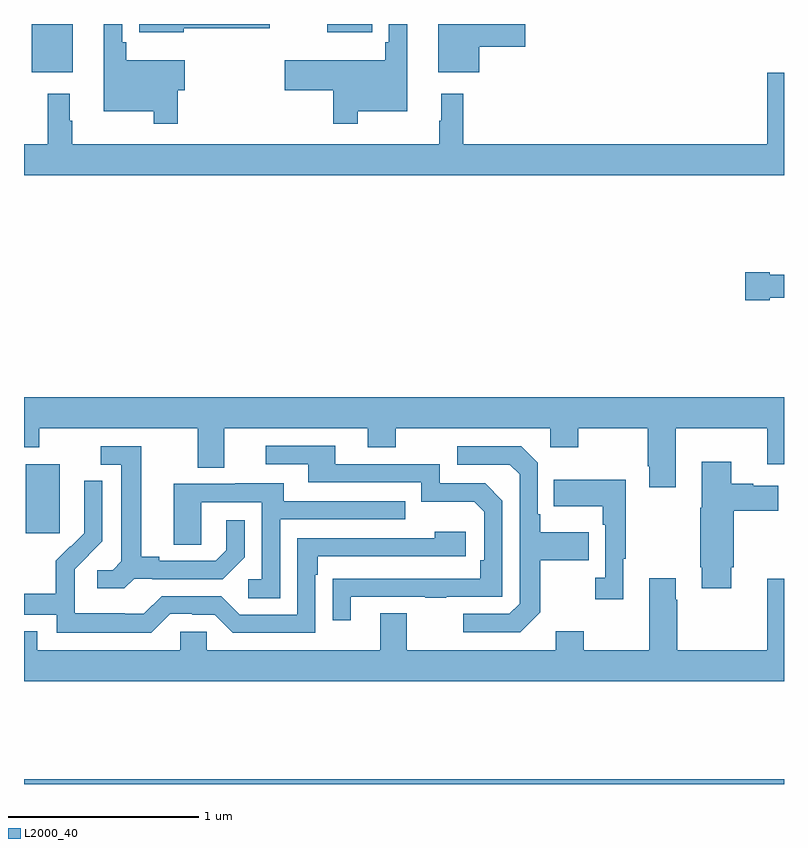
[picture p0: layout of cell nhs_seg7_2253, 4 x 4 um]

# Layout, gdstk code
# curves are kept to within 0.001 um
import gdstk
lib = gdstk.Library(unit=1e-6, precision=1e-09)
def R(c, l, rs):  # rectangles x0, y0, x1, y1
    for r in rs: c.add(gdstk.rectangle(r[:2], r[2:], *l))
def P(c, l, *ps):  # polygons
    for p in ps: c.add(gdstk.Polygon(p, *l))
L2000_40 = (2000, 40)

nhs_seg7_2253 = lib.new_cell('nhs_seg7_2253')
R(nhs_seg7_2253, L2000_40, [(257,1076,261,1076.024), (257.009,1077.321,257.188,1077.682), (257.042,1079.747,257.257,1080), (258.596,1079.957,258.832,1080)])
P(nhs_seg7_2253, L2000_40, [(258.757,1079.54),(259.018,1079.54),(259.018,1080),(258.921,1080),(258.921,1079.905),(258.901,1079.905),(258.901,1079.809),(258.372,1079.809),(258.372,1079.651),(258.628,1079.651),(258.628,1079.475),(258.757,1079.475)],
  [(257.81,1079.651),(257.845,1079.651),(257.845,1079.809),(257.537,1079.809),(257.537,1079.905),(257.517,1079.905),(257.517,1080),(257.42,1080),(257.42,1079.54),(257.682,1079.54),(257.682,1079.475),(257.81,1079.475)],
  [(257.842,1079.978),(258.294,1079.978),(258.294,1080),(257.606,1080),(257.606,1079.957),(257.842,1079.957)],
  [(259.396,1079.879),(259.639,1079.879),(259.639,1080),(259.181,1080),(259.181,1079.747),(259.396,1079.747)],
  [(261,1079.743),(260.912,1079.743),(260.912,1079.368),(259.313,1079.368),(259.313,1079.632),(259.196,1079.632),(259.196,1079.492),(259.185,1079.492),(259.185,1079.368),(257.254,1079.368),(257.254,1079.492),(257.242,1079.492),(257.242,1079.632),(257.125,1079.632),(257.125,1079.368),(257,1079.368),(257,1079.204),(261,1079.204)],
  [(260.925,1078.559),(261,1078.559),(261,1078.681),(260.925,1078.681),(260.925,1078.694),(260.796,1078.694),(260.796,1078.547),(260.925,1078.547)],
  [(260.431,1077.872),(260.912,1077.872),(260.912,1077.684),(261,1077.684),(261,1078.036),(257,1078.036),(257,1077.773),(257.079,1077.773),(257.079,1077.872),(257.915,1077.872),(257.915,1077.664),(258.055,1077.664),(258.055,1077.872),(258.809,1077.872),(258.809,1077.773),(258.957,1077.773),(258.957,1077.872),(259.77,1077.872),(259.77,1077.773),(259.916,1077.773),(259.916,1077.872),(260.284,1077.872),(260.284,1077.673),(260.291,1077.673),(260.291,1077.561),(260.431,1077.561)],
  [(258.721,1076.985),(259.111,1076.985),(259.111,1076.98),(259.223,1076.98),(259.223,1076.985),(259.518,1076.985),(259.518,1077.492),(259.428,1077.582),(259.188,1077.582),(259.188,1077.684),(258.637,1077.684),(258.637,1077.78),(258.273,1077.78),(258.273,1077.684),(258.497,1077.684),(258.497,1077.588),(259.092,1077.588),(259.092,1077.485),(259.369,1077.485),(259.422,1077.432),(259.422,1077.178),(259.402,1077.178),(259.402,1077.081),(258.625,1077.08),(258.625,1076.862),(258.721,1076.862)],
  [(257.58,1077.081),(257.674,1077.081),(257.674,1077.078),(258.046,1077.078),(258.162,1077.194),(258.162,1077.388),(258.065,1077.388),(258.065,1077.231),(258.008,1077.174),(257.713,1077.174),(257.713,1077.197),(257.617,1077.197),(257.617,1077.777),(257.403,1077.777),(257.403,1077.681),(257.513,1077.681),(257.513,1077.173),(257.466,1077.126),(257.385,1077.126),(257.385,1077.029),(257.528,1077.029)],
  [(259.717,1076.905),(259.717,1077.178),(259.973,1077.178),(259.973,1077.325),(259.717,1077.325),(259.717,1077.421),(259.704,1077.421),(259.704,1077.69),(259.617,1077.777),(259.281,1077.777),(259.281,1077.681),(259.557,1077.681),(259.608,1077.63),(259.608,1076.949),(259.554,1076.895),(259.311,1076.895),(259.311,1076.799),(259.611,1076.799)],
  [(260.722,1077.142),(260.735,1077.142),(260.735,1077.437),(260.971,1077.437),(260.971,1077.571),(260.838,1077.571),(260.838,1077.579),(260.722,1077.579),(260.722,1077.697),(260.567,1077.697),(260.567,1077.453),(260.56,1077.453),(260.56,1077.142),(260.567,1077.142),(260.567,1077.03),(260.722,1077.03)],
  [(260.155,1077.185),(260.166,1077.185),(260.166,1077.601),(259.789,1077.601),(259.789,1077.461),(260.046,1077.461),(260.046,1077.365),(260.058,1077.365),(260.058,1077.086),(260.007,1077.086),(260.007,1076.973),(260.155,1076.973)],
  [(257.769,1076.895),(257.885,1076.895),(257.885,1076.892),(258.003,1076.892),(258.099,1076.796),(258.534,1076.796),(258.534,1077.101),(258.547,1077.101),(258.547,1077.198),(259.324,1077.198),(259.324,1077.328),(259.163,1077.328),(259.163,1077.294),(258.438,1077.294),(258.438,1076.892),(258.135,1076.892),(258.039,1076.988),(257.724,1076.988),(257.631,1076.895),(257.531,1076.895),(257.531,1076.899),(257.268,1076.899),(257.268,1077.033),(257.266,1077.033),(257.266,1077.13),(257.412,1077.278),(257.412,1077.596),(257.316,1077.596),(257.316,1077.442),(257.318,1077.442),(257.318,1077.32),(257.247,1077.249),(257.244,1077.252),(257.167,1077.175),(257.167,1077.001),(257,1077.001),(257,1076.892),(257.172,1076.892),(257.172,1076.795),(257.669,1076.795)],
  [(258.348,1077.393),(259.007,1077.393),(259.007,1077.489),(258.367,1077.489),(258.367,1077.583),(258.113,1077.583),(258.113,1077.579),(257.789,1077.579),(257.789,1077.259),(257.934,1077.259),(257.934,1077.483),(258.252,1077.483),(258.252,1077.078),(258.18,1077.078),(258.18,1076.977),(258.348,1076.977)],
  [(261,1077.079),(260.912,1077.079),(260.912,1076.704),(260.439,1076.704),(260.439,1076.969),(260.431,1076.969),(260.431,1077.082),(260.291,1077.082),(260.291,1076.704),(259.947,1076.704),(259.947,1076.803),(259.799,1076.803),(259.799,1076.704),(259.015,1076.704),(259.015,1076.899),(258.875,1076.899),(258.875,1076.704),(257.961,1076.704),(257.961,1076.802),(257.823,1076.802),(257.823,1076.704),(257.071,1076.704),(257.071,1076.803),(257,1076.803),(257,1076.54),(261,1076.54)])

lib.write_gds('nhs_seg7_2253.gds')
